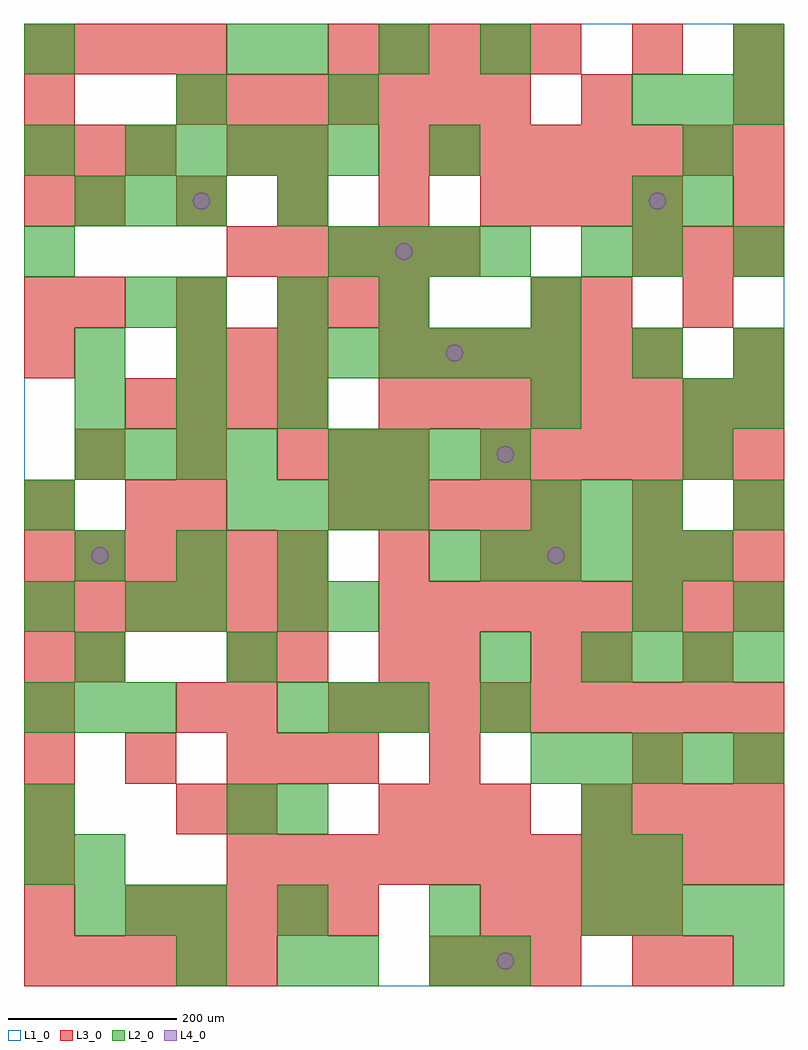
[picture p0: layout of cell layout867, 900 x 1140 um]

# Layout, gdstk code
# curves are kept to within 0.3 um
import gdstk
lib = gdstk.Library(unit=1e-6, precision=1e-09)
def R(c, l, rs):  # rectangles x0, y0, x1, y1
    for r in rs: c.add(gdstk.rectangle(r[:2], r[2:], *l))
def A(c, l, x, y, w, h, nx, ny, dx, dy):  # array of equal rectangles
    R(c, l, [(x+i*dx, y+j*dy, x+i*dx+w, y+j*dy+h) for i in range(nx) for j in range(ny)])
def P(c, l, *ps):  # polygons
    for p in ps: c.add(gdstk.Polygon(p, *l))
L1_0 = (1, 0)
L2_0 = (2, 0)
L3_0 = (3, 0)
L4_0 = (4, 0)

layout867 = lib.new_cell('layout867')
R(layout867, L1_0, [(0,0,900,1140)])
A(layout867, L2_0, 60, 60, 60, 60, 3, 2, 60, 840)
A(layout867, L2_0, 300, 60, 60, 60, 3, 1, 180, 0)
A(layout867, L2_0, 720, 60, 60, 60, 3, 2, 60, 960)
A(layout867, L2_0, 720, 120, 60, 60, 1, 3, 0, 300)
A(layout867, L2_0, 600, 240, 60, 60, 5, 1, 60, 0)
A(layout867, L2_0, 0, 300, 60, 60, 3, 1, 60, 0)
A(layout867, L2_0, 300, 300, 60, 60, 3, 1, 60, 0)
A(layout867, L2_0, 660, 360, 60, 60, 4, 1, 60, 0)
A(layout867, L2_0, 840, 420, 60, 60, 1, 3, 0, 120)
A(layout867, L2_0, 60, 480, 60, 60, 3, 2, 120, 180)
A(layout867, L2_0, 480, 480, 60, 60, 6, 1, 60, 0)
A(layout867, L2_0, 240, 540, 60, 60, 4, 1, 60, 0)
A(layout867, L2_0, 600, 540, 60, 60, 3, 1, 60, 0)
A(layout867, L2_0, 60, 600, 60, 60, 4, 1, 60, 0)
A(layout867, L2_0, 360, 600, 60, 60, 4, 2, 60, 240)
A(layout867, L2_0, 60, 720, 60, 60, 3, 1, 120, 0)
A(layout867, L2_0, 360, 720, 60, 60, 5, 1, 60, 0)
A(layout867, L2_0, 180, 780, 60, 60, 3, 1, 120, 0)
A(layout867, L2_0, 0, 840, 60, 60, 1, 3, 0, 120)
A(layout867, L2_0, 120, 960, 60, 60, 5, 1, 60, 0)
A(layout867, L2_0, 300, 1080, 60, 60, 3, 1, 120, 0)
R(layout867, L2_0, [(180,0,240,60), (300,0,360,60), (360,0,420,60), (480,0,540,60), (540,0,600,60), (840,0,900,60), (0,120,60,180), (60,120,120,180), (660,120,720,180), (0,180,60,240), (240,180,300,240), (300,180,360,240), (660,180,720,240), (540,300,600,360), (60,360,120,420), (240,360,300,420), (540,360,600,420), (0,420,60,480), (120,420,180,480), (180,420,240,480), (300,420,360,480), (360,420,420,480), (0,540,60,600), (780,600,840,660), (600,660,660,720), (780,660,840,720), (840,720,900,780), (120,780,180,840), (600,780,660,840), (660,840,720,900), (720,840,780,900), (840,840,900,900), (300,900,360,960), (720,900,780,960), (780,900,840,960), (480,960,540,1020), (780,960,840,1020), (180,1020,240,1080), (360,1020,420,1080), (240,1080,300,1140), (840,1080,900,1140)])
A(layout867, L3_0, 0, 0, 60, 60, 5, 1, 60, 0)
A(layout867, L3_0, 480, 0, 60, 60, 3, 1, 60, 0)
A(layout867, L3_0, 0, 60, 60, 60, 1, 3, 0, 60)
A(layout867, L3_0, 120, 60, 60, 60, 5, 1, 60, 0)
A(layout867, L3_0, 540, 60, 60, 60, 4, 1, 60, 0)
A(layout867, L3_0, 240, 120, 60, 60, 11, 1, 60, 0)
A(layout867, L3_0, 420, 180, 60, 60, 3, 1, 60, 0)
A(layout867, L3_0, 660, 180, 60, 60, 4, 1, 60, 0)
A(layout867, L3_0, 0, 240, 60, 60, 3, 1, 120, 0)
A(layout867, L3_0, 360, 300, 60, 60, 9, 1, 60, 0)
A(layout867, L3_0, 0, 360, 60, 60, 1, 3, 0, 180)
A(layout867, L3_0, 420, 360, 60, 60, 1, 3, 0, 120)
A(layout867, L3_0, 0, 420, 60, 60, 6, 2, 60, 60)
A(layout867, L3_0, 420, 420, 60, 60, 8, 2, 60, 240)
A(layout867, L3_0, 720, 480, 60, 60, 3, 2, 60, 360)
A(layout867, L3_0, 360, 540, 60, 60, 5, 2, 60, 540)
A(layout867, L3_0, 840, 540, 60, 60, 1, 3, 0, 180)
A(layout867, L3_0, 60, 600, 60, 60, 3, 2, 120, 180)
A(layout867, L3_0, 540, 600, 60, 60, 6, 1, 60, 0)
A(layout867, L3_0, 120, 660, 60, 60, 4, 1, 60, 0)
A(layout867, L3_0, 180, 720, 60, 60, 3, 1, 60, 0)
A(layout867, L3_0, 420, 720, 60, 60, 6, 1, 60, 0)
A(layout867, L3_0, 0, 780, 60, 60, 1, 3, 0, 120)
A(layout867, L3_0, 240, 840, 60, 60, 5, 1, 60, 0)
A(layout867, L3_0, 60, 900, 60, 60, 5, 1, 120, 0)
A(layout867, L3_0, 600, 900, 60, 60, 3, 1, 60, 0)
A(layout867, L3_0, 0, 960, 60, 60, 3, 1, 60, 0)
A(layout867, L3_0, 420, 960, 60, 60, 8, 1, 60, 0)
A(layout867, L3_0, 180, 1020, 60, 60, 7, 1, 60, 0)
A(layout867, L3_0, 0, 1080, 60, 60, 4, 1, 60, 0)
R(layout867, L3_0, [(720,0,780,60), (780,0,840,60), (180,180,240,240), (240,180,300,240), (300,240,360,300), (360,240,420,300), (480,240,540,300), (720,240,780,300), (840,240,900,300), (0,300,60,360), (180,300,240,360), (240,300,300,360), (60,360,120,420), (240,360,300,420), (300,360,360,420), (480,360,540,420), (600,360,660,420), (660,360,720,420), (780,360,840,420), (540,480,600,540), (600,480,660,540), (120,540,180,600), (180,540,240,600), (720,540,780,600), (360,600,420,660), (360,780,420,840), (420,780,480,840), (600,780,660,840), (660,780,720,840), (780,780,840,840), (240,960,300,1020), (300,960,360,1020), (660,1020,720,1080), (840,1020,900,1080), (720,1080,780,1140), (840,1080,900,1140)])
P(layout867, L4_0, [(100,510),(99.239,513.827),(97.071,517.071),(93.827,519.239),(90,520),(86.173,519.239),(82.929,517.071),(80.761,513.827),(80,510),(80.761,506.173),(82.929,502.929),(86.173,500.761),(90,500),(93.827,500.761),(97.071,502.929),(99.239,506.173)],
  [(220,930),(219.239,933.827),(217.071,937.071),(213.827,939.239),(210,940),(206.173,939.239),(202.929,937.071),(200.761,933.827),(200,930),(200.761,926.173),(202.929,922.929),(206.173,920.761),(210,920),(213.827,920.761),(217.071,922.929),(219.239,926.173)],
  [(460,870),(459.239,873.827),(457.071,877.071),(453.827,879.239),(450,880),(446.173,879.239),(442.929,877.071),(440.761,873.827),(440,870),(440.761,866.173),(442.929,862.929),(446.173,860.761),(450,860),(453.827,860.761),(457.071,862.929),(459.239,866.173)],
  [(520,750),(519.239,753.827),(517.071,757.071),(513.827,759.239),(510,760),(506.173,759.239),(502.929,757.071),(500.761,753.827),(500,750),(500.761,746.173),(502.929,742.929),(506.173,740.761),(510,740),(513.827,740.761),(517.071,742.929),(519.239,746.173)],
  [(580,30),(579.239,33.827),(577.071,37.071),(573.827,39.239),(570,40),(566.173,39.239),(562.929,37.071),(560.761,33.827),(560,30),(560.761,26.173),(562.929,22.929),(566.173,20.761),(570,20),(573.827,20.761),(577.071,22.929),(579.239,26.173)],
  [(580,630),(579.239,633.827),(577.071,637.071),(573.827,639.239),(570,640),(566.173,639.239),(562.929,637.071),(560.761,633.827),(560,630),(560.761,626.173),(562.929,622.929),(566.173,620.761),(570,620),(573.827,620.761),(577.071,622.929),(579.239,626.173)],
  [(640,510),(639.239,513.827),(637.071,517.071),(633.827,519.239),(630,520),(626.173,519.239),(622.929,517.071),(620.761,513.827),(620,510),(620.761,506.173),(622.929,502.929),(626.173,500.761),(630,500),(633.827,500.761),(637.071,502.929),(639.239,506.173)],
  [(760,930),(759.239,933.827),(757.071,937.071),(753.827,939.239),(750,940),(746.173,939.239),(742.929,937.071),(740.761,933.827),(740,930),(740.761,926.173),(742.929,922.929),(746.173,920.761),(750,920),(753.827,920.761),(757.071,922.929),(759.239,926.173)])

lib.write_gds('layout867.gds')
